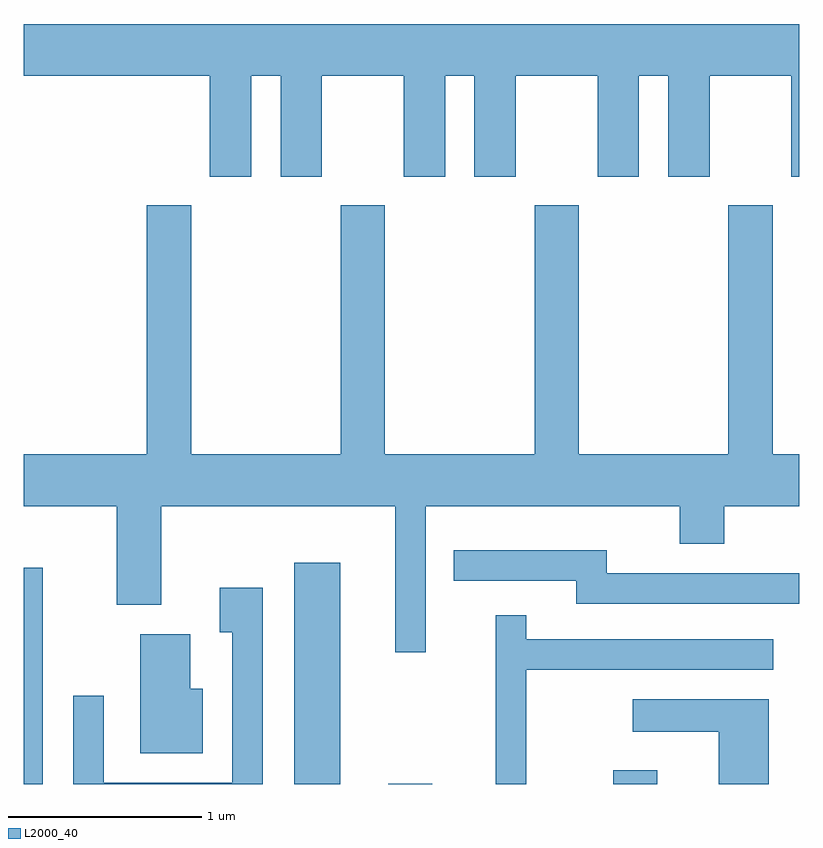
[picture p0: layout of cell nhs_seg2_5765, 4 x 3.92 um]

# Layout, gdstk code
import gdstk
lib = gdstk.Library(unit=1e-6, precision=1e-09)
def R(c, l, rs):  # rectangles x0, y0, x1, y1
    for r in rs: c.add(gdstk.rectangle(r[:2], r[2:], *l))
def P(c, l, *ps):  # polygons
    for p in ps: c.add(gdstk.Polygon(p, *l))
L2000_40 = (2000, 40)

nhs_seg2_5765 = lib.new_cell('nhs_seg2_5765')
R(nhs_seg2_5765, L2000_40, [(355.611,1015.802,355.709,1016.919), (357.006,1015.802,357.244,1016.944), (357.491,1015.802,357.719,1015.804), (358.651,1015.802,358.879,1015.874)])
P(nhs_seg2_5765, L2000_40, [(356.784,1019.456),(356.936,1019.456),(356.936,1018.936),(357.149,1018.936),(357.149,1019.456),(357.571,1019.456),(357.571,1018.936),(357.784,1018.936),(357.784,1019.456),(357.936,1019.456),(357.936,1018.936),(358.149,1018.936),(358.149,1019.456),(358.571,1019.456),(358.571,1018.936),(358.784,1018.936),(358.784,1019.456),(358.936,1019.456),(358.936,1018.936),(359.149,1018.936),(359.149,1019.456),(359.571,1019.456),(359.571,1018.936),(359.611,1018.936),(359.611,1019.724),(355.611,1019.724),(355.611,1019.456),(356.571,1019.456),(356.571,1018.936),(356.784,1018.936)],
  [(357.684,1017.236),(358.996,1017.236),(358.996,1017.041),(359.224,1017.041),(359.224,1017.236),(359.611,1017.236),(359.611,1017.504),(359.474,1017.504),(359.474,1018.789),(359.246,1018.789),(359.246,1017.504),(358.474,1017.504),(358.474,1018.789),(358.246,1018.789),(358.246,1017.504),(357.474,1017.504),(357.474,1018.789),(357.246,1018.789),(357.246,1017.504),(356.474,1017.504),(356.474,1018.789),(356.246,1018.789),(356.246,1017.504),(355.611,1017.504),(355.611,1017.236),(356.091,1017.236),(356.091,1016.726),(356.319,1016.726),(356.319,1017.236),(357.526,1017.236),(357.526,1016.483),(357.684,1016.483)],
  [(359.611,1016.889),(358.619,1016.889),(358.619,1017.009),(357.828,1017.009),(357.828,1016.851),(358.461,1016.851),(358.461,1016.731),(359.611,1016.731)],
  [(356.844,1016.814),(356.621,1016.814),(356.621,1016.586),(356.686,1016.586),(356.686,1015.809),(356.024,1015.809),(356.024,1016.258),(355.866,1016.258),(355.866,1015.802),(356.844,1015.802)],
  [(358.204,1016.391),(359.478,1016.391),(359.478,1016.549),(358.204,1016.549),(358.204,1016.673),(358.046,1016.673),(358.046,1015.802),(358.204,1015.802)],
  [(356.534,1016.294),(356.469,1016.294),(356.469,1016.574),(356.211,1016.574),(356.211,1015.961),(356.534,1015.961)],
  [(359.454,1016.239),(358.753,1016.239),(358.753,1016.071),(359.196,1016.071),(359.196,1015.802),(359.454,1015.802)])

lib.write_gds('nhs_seg2_5765.gds')
